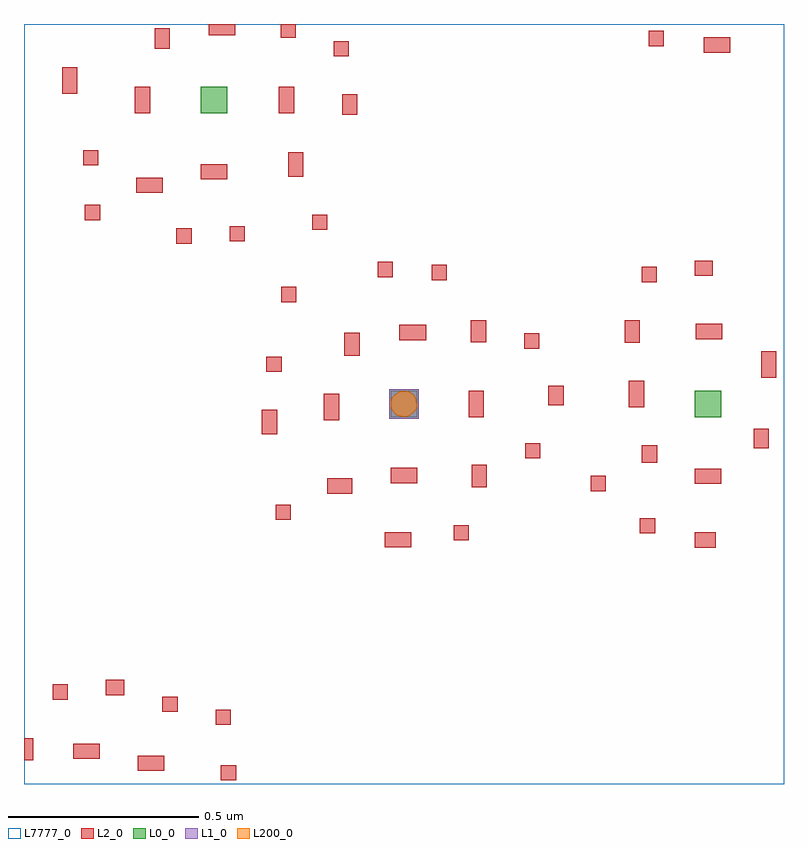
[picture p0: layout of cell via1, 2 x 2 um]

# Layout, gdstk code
import gdstk
lib = gdstk.Library(unit=1e-6, precision=1e-09)
def R(c, l, rs):  # rectangles x0, y0, x1, y1
    for r in rs: c.add(gdstk.rectangle(r[:2], r[2:], *l))
def P(c, l, *ps):  # polygons
    for p in ps: c.add(gdstk.Polygon(p, *l))
L0_0 = (0, 0)
L1_0 = (1, 0)
L2_0 = (2, 0)
L200_0 = (200, 0)
L7777_0 = (7777, 0)

via1 = lib.new_cell('via1')
R(via1, L0_0, [(80.915,29.265,80.985,29.335), (81.715,29.265,81.785,29.335), (80.415,30.065,80.485,30.135)])
R(via1, L1_0, [(80.911,29.261,80.989,29.339)])
R(via1, L2_0, [(80.468,28.31,80.508,28.35), (80.249,28.335,80.319,28.375), (79.95,28.362,79.974,28.42), (80.079,28.366,80.149,28.406), (80.454,28.456,80.494,28.496), (80.314,28.49,80.354,28.53), (80.025,28.522,80.065,28.562), (80.165,28.534,80.214,28.574), (81.715,28.922,81.771,28.962), (80.899,28.923,80.969,28.963), (81.081,28.941,81.121,28.981), (81.571,28.96,81.611,29), (80.612,28.995,80.652,29.035), (80.748,29.064,80.814,29.104), (81.441,29.071,81.481,29.111), (81.128,29.081,81.168,29.14), (81.715,29.09,81.785,29.13), (80.915,29.092,80.985,29.132), (81.576,29.145,81.616,29.191), (81.269,29.157,81.309,29.197), (81.87,29.183,81.91,29.235), (80.576,29.22,80.616,29.285), (80.739,29.257,80.779,29.327), (81.12,29.265,81.16,29.335), (81.542,29.291,81.582,29.361), (81.33,29.297,81.37,29.348), (81.89,29.369,81.93,29.439), (80.588,29.385,80.628,29.425), (80.793,29.427,80.833,29.488), (81.266,29.446,81.306,29.486), (81.531,29.461,81.571,29.521), (81.126,29.463,81.166,29.521), (80.938,29.468,81.008,29.508), (81.718,29.471,81.788,29.511), (80.627,29.568,80.667,29.608), (81.575,29.621,81.615,29.661), (81.023,29.626,81.063,29.666), (80.881,29.634,80.921,29.674), (81.715,29.637,81.763,29.677), (80.351,29.722,80.391,29.762), (80.491,29.728,80.531,29.768), (80.708,29.758,80.748,29.798), (80.11,29.784,80.15,29.824), (80.245,29.856,80.315,29.896), (80.415,29.891,80.485,29.931), (80.645,29.898,80.685,29.963), (80.106,29.928,80.146,29.968), (80.787,30.061,80.827,30.115), (80.242,30.065,80.282,30.135), (80.621,30.065,80.661,30.135), (80.05,30.116,80.09,30.186), (80.765,30.215,80.805,30.255), (81.739,30.225,81.809,30.265), (80.294,30.235,80.334,30.289), (81.594,30.242,81.634,30.282), (80.625,30.264,80.665,30.3), (80.436,30.27,80.506,30.3)])
P(via1, L200_0, [(80.948,29.265),(80.93,29.271),(80.922,29.279),(80.917,29.288),(80.915,29.297),(80.915,29.306),(80.918,29.316),(80.925,29.325),(80.939,29.334),(80.958,29.335),(80.967,29.331),(80.975,29.325),(80.981,29.316),(80.985,29.297),(80.983,29.288),(80.977,29.279),(80.967,29.27),(80.958,29.266)])
R(via1, L7777_0, [(79.95,28.3,81.95,30.3)])

lib.write_gds('via1.gds')
